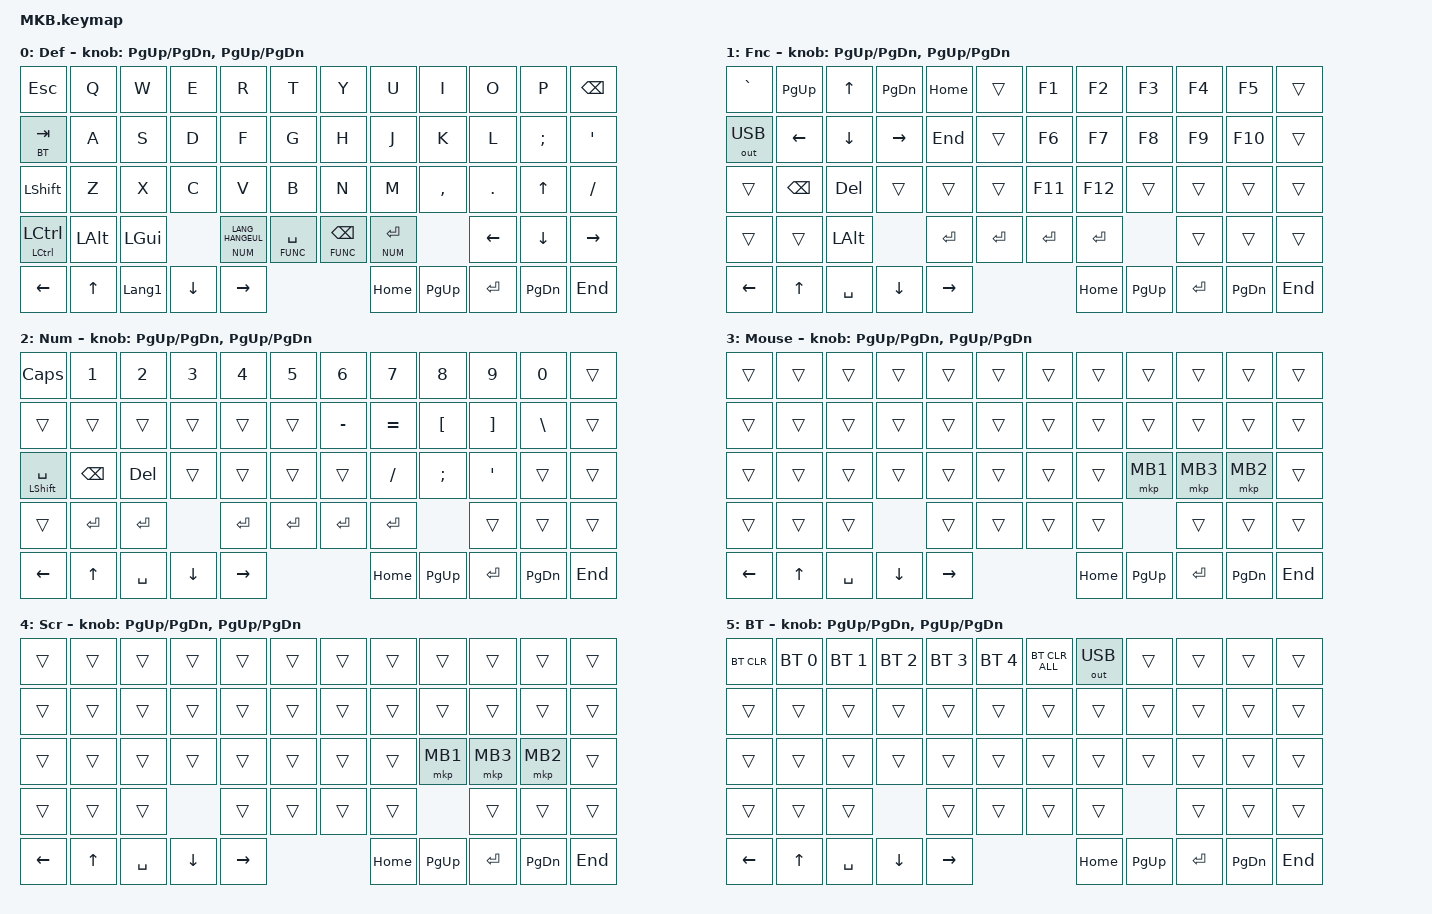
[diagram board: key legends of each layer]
// #include <layout_shift.dtsi>

#include <layout_shift_kp_override.dtsi>
// #include <behaviors.dtsi>
#include <dt-bindings/zmk/bt.h>
#include <dt-bindings/zmk/keys.h>
#include <dt-bindings/zmk/outputs.h>
#include <dt-bindings/zmk/pointing.h>

#define DEF 0
#define FUNC 1
#define NUM 2
#define MOUSE 3
#define SCROLL 4
#define BT 5

&mt {
    flavor = "balanced";
    tapping-term-ms = <280>;
    quick-tap-ms = <175>;
    require-prior-idle-ms = <150>;
};

/ {
    keymap {
        compatible = "zmk,keymap";

        default_layer {
            label = "Def";
            bindings = <
&kp ESCAPE      &kp Q     &kp W           &kp E     &kp R                 &kp T               &kp Y               &kp U          &kp I      &kp O      &kp P      &kp BKSP
&lt BT TAB      &kp A     &kp S           &kp D     &kp F                 &kp G               &kp H               &kp J          &kp K      &kp L      &kp SEMI   &kp SQT
&kp LSHFT       &kp Z     &kp X           &kp C     &kp V                 &kp B               &kp N               &kp M          &kp COMMA  &kp DOT    &kp UP     &kp FSLH
&mt LCTL LCTRL  &kp LALT  &kp LGUI                  &lt NUM LANG_HANGEUL  &lt FUNC SPACE      &lt FUNC BACKSPACE  &lt NUM ENTER             &kp LEFT   &kp DOWN   &kp RIGHT
&kp LEFT        &kp UP    &kp LANGUAGE_1  &kp DOWN  &kp RIGHT                                                     &kp HOME       &kp PG_UP  &kp ENTER  &kp PG_DN  &kp END
            >;

            sensor-bindings = <&inc_dec_kp PG_UP PG_DN &inc_dec_kp PG_UP PG_DN>;
        };

        function_layer {
            label = "Fnc";
            bindings = <
&kp GRAVE     &kp PG_UP  &kp UP     &kp PG_DN  &kp HOME   &trans         &kp F1     &kp F2     &kp F3     &kp F4     &kp F5     &trans
&out OUT_USB  &kp LEFT   &kp DOWN   &kp RIGHT  &kp END    &trans         &kp F6     &kp F7     &kp F8     &kp F9     &kp F10    &trans
&trans        &kp BKSP   &kp DEL    &trans     &trans     &trans         &kp F11    &kp F12    &trans     &trans     &trans     &trans
&trans        &trans     &kp LALT              &kp ENTER  &kp ENTER      &kp ENTER  &kp ENTER             &trans     &trans     &trans
&kp LEFT      &kp UP     &kp SPACE  &kp DOWN   &kp RIGHT                            &kp HOME   &kp PG_UP  &kp ENTER  &kp PG_DN  &kp END
            >;

            sensor-bindings = <&inc_dec_kp PG_UP PG_DN &inc_dec_kp PG_UP PG_DN>;
        };

        num_layer {
            label = "Num";
            bindings = <
&kp CAPS         &kp N1         &kp N2     &kp N3    &kp N4     &kp N5         &kp N6     &kp N7     &kp N8     &kp N9     &kp N0     &trans
&trans           &trans         &trans     &trans    &trans     &trans         &kp MINUS  &kp EQUAL  &kp LBKT   &kp RBKT   &kp BSLH   &trans
&mt LSHFT SPACE  &kp BACKSPACE  &kp DEL    &trans    &trans     &trans         &trans     &kp FSLH   &kp SEMI   &kp SQT    &trans     &trans
&trans           &kp ENTER      &kp ENTER            &kp ENTER  &kp ENTER      &kp ENTER  &kp ENTER             &trans     &trans     &trans
&kp LEFT         &kp UP         &kp SPACE  &kp DOWN  &kp RIGHT                            &kp HOME   &kp PG_UP  &kp ENTER  &kp PG_DN  &kp END
            >;

            sensor-bindings = <&inc_dec_kp PG_UP PG_DN &inc_dec_kp PG_UP PG_DN>;
        };

        mouse_layer {
            label = "Mouse";
            bindings = <
&trans    &trans  &trans     &trans    &trans     &trans      &trans  &trans    &trans     &trans     &trans     &trans
&trans    &trans  &trans     &trans    &trans     &trans      &trans  &trans    &trans     &trans     &trans     &trans
&trans    &trans  &trans     &trans    &trans     &trans      &trans  &trans    &mkp MB1   &mkp MB3   &mkp MB2   &trans
&trans    &trans  &trans               &trans     &trans      &trans  &trans               &trans     &trans     &trans
&kp LEFT  &kp UP  &kp SPACE  &kp DOWN  &kp RIGHT                      &kp HOME  &kp PG_UP  &kp ENTER  &kp PG_DN  &kp END
            >;

            sensor-bindings = <&inc_dec_kp PG_UP PG_DN &inc_dec_kp PG_UP PG_DN>;
        };

        scroll_layer {
            label = "Scr";
            bindings = <
&trans    &trans  &trans     &trans    &trans     &trans      &trans  &trans    &trans     &trans     &trans     &trans
&trans    &trans  &trans     &trans    &trans     &trans      &trans  &trans    &trans     &trans     &trans     &trans
&trans    &trans  &trans     &trans    &trans     &trans      &trans  &trans    &mkp MB1   &mkp MB3   &mkp MB2   &trans
&trans    &trans  &trans               &trans     &trans      &trans  &trans               &trans     &trans     &trans
&kp LEFT  &kp UP  &kp SPACE  &kp DOWN  &kp RIGHT                      &kp HOME  &kp PG_UP  &kp ENTER  &kp PG_DN  &kp END
            >;

            sensor-bindings = <&inc_dec_kp PG_UP PG_DN &inc_dec_kp PG_UP PG_DN>;
        };

        bt_layer {
            label = "BT";
            bindings = <
&bt BT_CLR  &bt BT_SEL 0  &bt BT_SEL 1  &bt BT_SEL 2  &bt BT_SEL 3  &bt BT_SEL 4      &bt BT_CLR_ALL  &out OUT_USB  &trans     &trans     &trans     &trans
&trans      &trans        &trans        &trans        &trans        &trans            &trans          &trans        &trans     &trans     &trans     &trans
&trans      &trans        &trans        &trans        &trans        &trans            &trans          &trans        &trans     &trans     &trans     &trans
&trans      &trans        &trans                      &trans        &trans            &trans          &trans                   &trans     &trans     &trans
&kp LEFT    &kp UP        &kp SPACE     &kp DOWN      &kp RIGHT                                       &kp HOME      &kp PG_UP  &kp ENTER  &kp PG_DN  &kp END
            >;

            sensor-bindings = <&inc_dec_kp PG_UP PG_DN &inc_dec_kp PG_UP PG_DN>;
        };
    };
};
